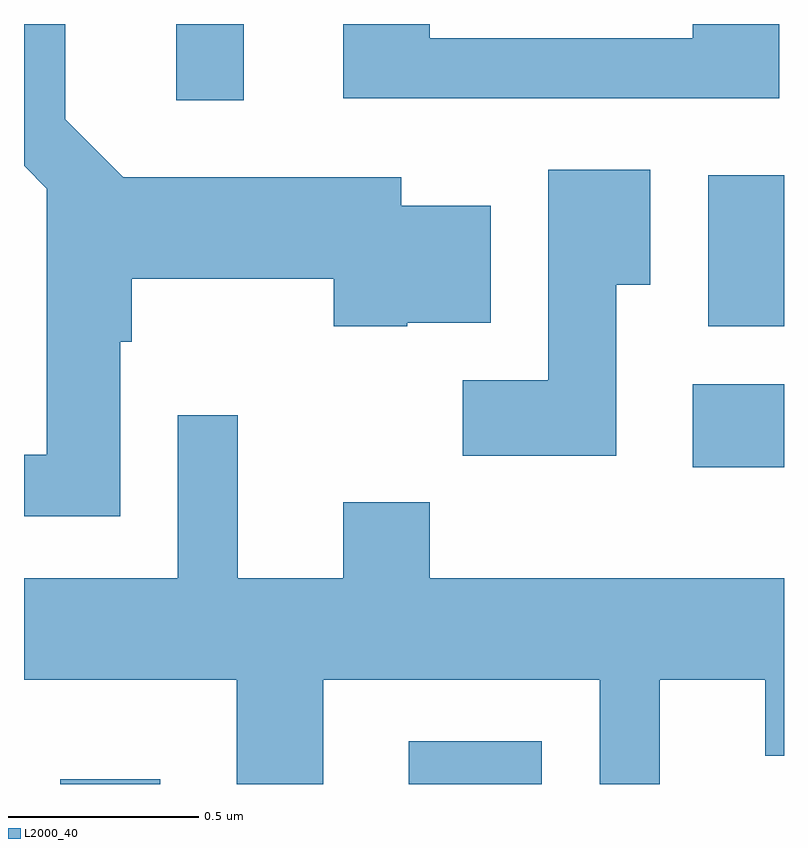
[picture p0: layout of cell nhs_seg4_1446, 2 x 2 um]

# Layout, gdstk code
import gdstk
lib = gdstk.Library(unit=1e-6, precision=1e-09)
def R(c, l, rs):  # rectangles x0, y0, x1, y1
    for r in rs: c.add(gdstk.rectangle(r[:2], r[2:], *l))
def P(c, l, *ps):  # polygons
    for p in ps: c.add(gdstk.Polygon(p, *l))
L2000_40 = (2000, 40)

nhs_seg4_1446 = lib.new_cell('nhs_seg4_1446')
R(nhs_seg4_1446, L2000_40, [(195.706,1329.982,195.969,1329.994), (196.623,1329.982,196.974,1330.094), (197.371,1330.816,197.611,1331.034), (197.411,1331.186,197.611,1331.584), (196.011,1331.781,196.189,1331.982)])
P(nhs_seg4_1446, L2000_40, [(195.864,1331.146),(195.894,1331.146),(195.894,1331.311),(196.426,1331.311),(196.426,1331.186),(196.62,1331.186),(196.62,1331.196),(196.839,1331.196),(196.839,1331.504),(196.604,1331.504),(196.604,1331.579),(195.872,1331.579),(195.719,1331.732),(195.719,1331.982),(195.611,1331.982),(195.611,1331.609),(195.671,1331.549),(195.671,1330.849),(195.611,1330.849),(195.611,1330.686),(195.864,1330.686)],
  [(197.599,1331.982),(197.371,1331.982),(197.371,1331.944),(196.679,1331.944),(196.679,1331.982),(196.451,1331.982),(196.451,1331.786),(197.599,1331.786)],
  [(197.169,1331.296),(197.259,1331.296),(197.259,1331.599),(196.991,1331.599),(196.991,1331.044),(196.766,1331.044),(196.766,1330.846),(197.169,1330.846)],
  [(196.399,1330.256),(197.126,1330.256),(197.126,1329.982),(197.284,1329.982),(197.284,1330.256),(197.561,1330.256),(197.561,1330.056),(197.611,1330.056),(197.611,1330.524),(196.679,1330.524),(196.679,1330.724),(196.451,1330.724),(196.451,1330.524),(196.174,1330.524),(196.174,1330.953),(196.016,1330.953),(196.016,1330.524),(195.611,1330.524),(195.611,1330.256),(196.171,1330.256),(196.171,1329.982),(196.399,1329.982)])

lib.write_gds('nhs_seg4_1446.gds')
